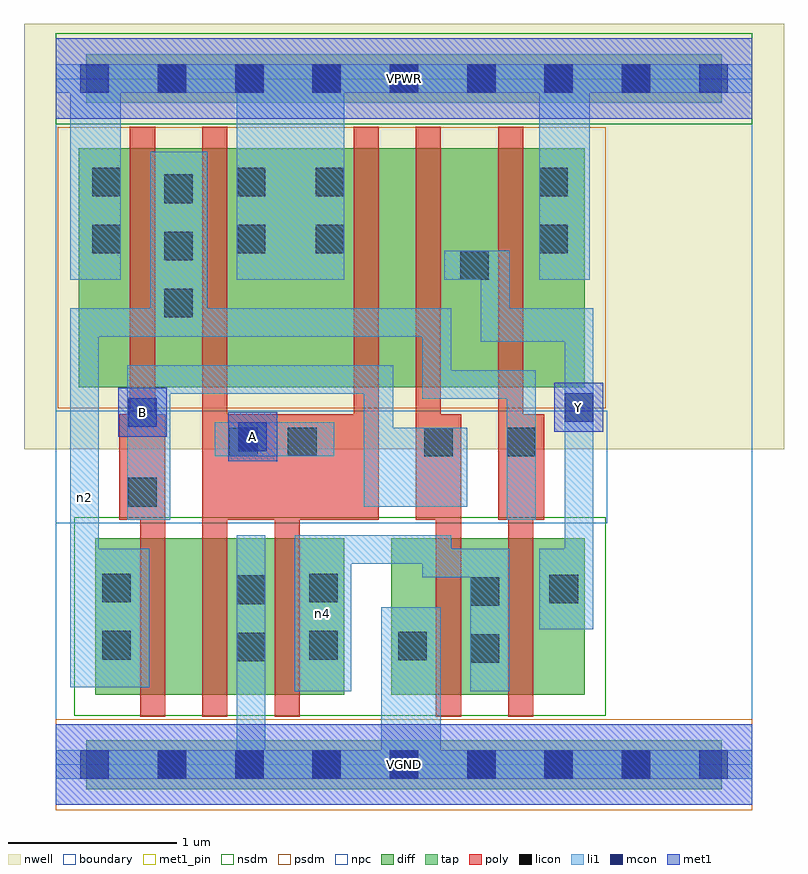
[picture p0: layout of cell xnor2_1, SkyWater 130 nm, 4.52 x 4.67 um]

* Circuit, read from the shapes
.subckt xnor2_1 A B VGND VPWR Y n2 n4
XM1 n1 B n2 VGND sky130_fd_pr__nfet_01v8 w=0.93 l=0.15
XM2 VGND A n1 VGND sky130_fd_pr__nfet_01v8 w=0.93 l=0.15
XM3 n4 A VGND VGND sky130_fd_pr__nfet_01v8 w=0.93 l=0.15
XM4 n4 B VGND VGND sky130_fd_pr__nfet_01v8 w=0.93 l=0.15
XM5 Y n2 n4 VGND sky130_fd_pr__nfet_01v8 w=0.93 l=0.15
XM6 n2 B VPWR VPWR sky130_fd_pr__pfet_01v8 w=1.42 l=0.15
XM7 VPWR A n2 VPWR sky130_fd_pr__pfet_01v8 w=1.42 l=0.15
XM8 n3 A VPWR VPWR sky130_fd_pr__pfet_01v8 w=1.42 l=0.15
XM9 Y B n3 VPWR sky130_fd_pr__pfet_01v8 w=1.42 l=0.15
XM10 VPWR n2 Y VPWR sky130_fd_pr__pfet_01v8 w=1.42 l=0.15
.ends

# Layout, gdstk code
import gdstk
lib = gdstk.Library(unit=1e-6, precision=1e-09)
def R(c, l, rs):  # rectangles x0, y0, x1, y1
    for r in rs: c.add(gdstk.rectangle(r[:2], r[2:], *l))
def A(c, l, x, y, w, h, nx, ny, dx, dy):  # array of equal rectangles
    R(c, l, [(x+i*dx, y+j*dy, x+i*dx+w, y+j*dy+h) for i in range(nx) for j in range(ny)])
nwell = (64, 20)
diff = (65, 20)
tap = (65, 44)
poly = (66, 20)
licon = (66, 44)
li1 = (67, 20)
mcon = (67, 44)
met1_pin = (68, 16)
met1 = (68, 20)
nsdm = (93, 44)
psdm = (94, 20)
npc = (95, 20)
boundary = (235, 4)

xnor2_1 = lib.new_cell('xnor2_1')
R(xnor2_1, nwell, [(-0.19,1.875,4.33,4.405), (0,1.875,4.14,4.405)])
R(xnor2_1, diff, [(0.235,0.415,1.715,1.345), (1.995,0.415,3.145,1.345), (0.135,2.245,3.145,3.665)])
R(xnor2_1, tap, [(0.18,-0.145,3.96,0.145), (0.18,3.935,3.96,4.225)])
R(xnor2_1, poly, [(0.5,0.285,0.65,2.085), (0.87,0.285,1.02,3.795), (1.3,0.285,1.45,2.085), (2.26,0.285,2.41,2.085), (2.69,0.285,2.84,2.085), (0.375,1.455,0.65,2.085), (0.44,1.455,0.59,3.795), (0.87,1.455,1.92,2.085), (1.77,1.455,1.92,3.795), (2.14,1.455,2.29,3.795), (2.63,1.455,2.905,2.085), (2.63,1.455,2.78,3.795)])
A(xnor2_1, licon, 0.605, -0.085, 0.17, 0.17, 7, 2, 0.46, 4.08)
A(xnor2_1, licon, 0.645, 2.66, 0.17, 0.17, 1, 3, 0, 0.34)
R(xnor2_1, licon, [(2.465,0.605,2.635,0.775), (1.075,0.615,1.245,0.785), (2.035,0.62,2.205,0.79), (0.275,0.625,0.445,0.795), (1.505,0.625,1.675,0.795), (2.465,0.945,2.635,1.115), (1.075,0.955,1.245,1.125), (2.935,0.96,3.105,1.13), (0.275,0.965,0.445,1.135), (1.505,0.965,1.675,1.135), (0.43,1.535,0.6,1.705), (1.03,1.835,1.2,2.005), (1.38,1.835,1.55,2.005), (2.19,1.835,2.36,2.005), (2.68,1.835,2.85,2.005), (2.405,2.885,2.575,3.055), (0.215,3.04,0.385,3.21), (1.075,3.04,1.245,3.21), (1.545,3.04,1.715,3.21), (2.875,3.04,3.045,3.21), (0.215,3.38,0.385,3.55), (1.075,3.38,1.245,3.55), (1.545,3.38,1.715,3.55), (2.875,3.38,3.045,3.55)])
R(xnor2_1, li1, [(0,-0.085,4.14,0.085), (1.075,-0.085,1.245,1.365), (1.935,-0.085,2.29,0.935), (1.42,0.435,1.755,1.365), (2.465,0.435,2.7,1.285), (0.085,0.46,0.255,2.715), (0.085,0.46,0.555,1.285), (2.875,0.805,3.195,1.285), (3.025,0.805,3.195,2.715), (2.18,1.115,2.7,1.285), (1.42,1.195,2.35,1.365), (0.425,1.455,0.68,2.375), (2.68,1.455,2.855,2.345), (1.83,1.535,2.445,2.005), (1.83,1.535,2.005,2.375), (0.945,1.835,1.655,2.035), (2.18,2.175,2.855,2.345), (2.18,2.175,2.35,2.715), (0.425,2.205,2.005,2.375), (2.525,2.515,3.195,2.715), (2.525,2.515,2.7,3.055), (0.085,2.545,2.35,2.715), (0.56,2.545,0.9,3.645), (0.085,2.885,0.385,4.165), (1.075,2.885,1.715,4.165), (2.31,2.885,2.7,3.055), (2.875,2.885,3.175,4.165), (0,3.995,4.14,4.165)])
A(xnor2_1, mcon, 0.145, -0.085, 0.17, 0.17, 9, 2, 0.46, 4.08)
R(xnor2_1, mcon, [(1.085,1.865,1.255,2.035), (0.43,2.01,0.6,2.18), (3.025,2.04,3.195,2.21)])
R(xnor2_1, met1_pin, [(0,-0.24,4.14,0.24), (1.025,1.805,1.315,2.095), (0.37,1.95,0.66,2.24), (2.965,1.98,3.255,2.27), (0,3.84,4.14,4.32)])
R(xnor2_1, met1, [(0,-0.24,4.14,0.24), (1.025,1.805,1.315,2.095), (0.37,1.95,0.66,2.24), (2.965,1.98,3.255,2.27), (0,3.84,4.14,4.32)])
R(xnor2_1, nsdm, [(0.11,0.29,3.27,1.47), (0,3.81,4.14,4.35)])
R(xnor2_1, psdm, [(0,-0.27,4.14,0.27), (0.01,2.12,3.27,3.79)])
R(xnor2_1, npc, [(0,1.435,3.28,2.105)])
R(xnor2_1, boundary, [(0,0,4.14,4.08)])
xnor2_1.add(gdstk.Label('n4', (1.587,0.9), layer=67, texttype=5))
xnor2_1.add(gdstk.Label('n2', (0.17,1.587), layer=67, texttype=5))
xnor2_1.add(gdstk.Label('A', (1.17,1.95), layer=68, texttype=5))
xnor2_1.add(gdstk.Label('B', (0.515,2.095), layer=68, texttype=5))
xnor2_1.add(gdstk.Label('Y', (3.11,2.125), layer=68, texttype=5))
xnor2_1.add(gdstk.Label('VPWR', (2.07,4.08), layer=68, texttype=5))
xnor2_1.add(gdstk.Label('VGND', (2.07,0), layer=68, texttype=5))
xnor2_1.add(gdstk.Label('A', (1.17,1.95), layer=68, texttype=16))
xnor2_1.add(gdstk.Label('B', (0.515,2.095), layer=68, texttype=16))
xnor2_1.add(gdstk.Label('Y', (3.11,2.125), layer=68, texttype=16))
xnor2_1.add(gdstk.Label('VPWR', (2.07,4.08), layer=68, texttype=16))
xnor2_1.add(gdstk.Label('VGND', (2.07,0), layer=68, texttype=16))

lib.write_gds('xnor2_1.gds')
